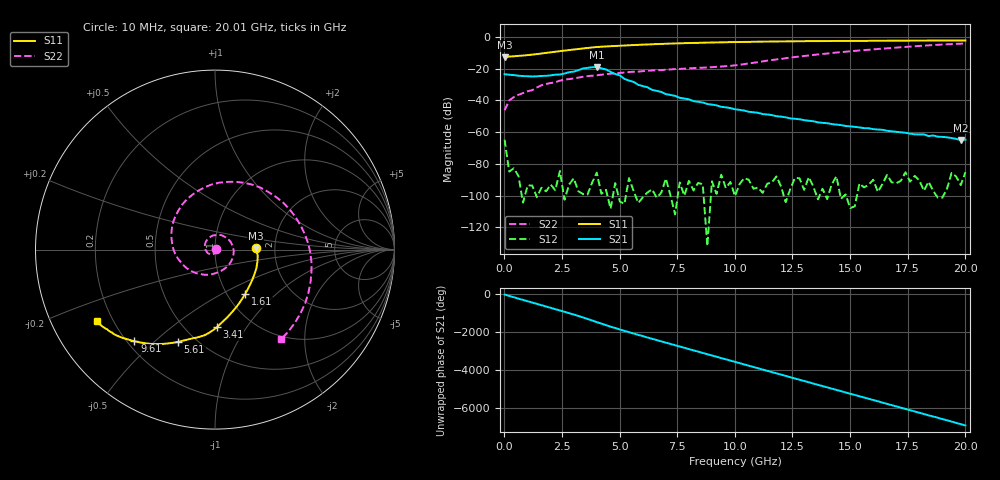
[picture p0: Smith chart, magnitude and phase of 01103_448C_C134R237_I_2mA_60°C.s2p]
!;Filter: kein Filter
!auto
!3/21/2019 9:26:52 AM
!3/21/2019 9:27:07 AM
!SP-Measurements Prober G4
!SP-Measurements Prober G4
!01103_448C
!134
!237
!12
!60
!-20
!0.00199954
!1.75
!0.22129449
!0.22129449
# Hz S  RI  R 50
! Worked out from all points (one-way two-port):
!   101 points, 10 MHz to 20.01 GHz, reference 50 ohm
!   highest |S21| = -18.96 dB at 4.01 GHz (marker M1); lowest = -65.0 dB at 19.81 GHz (marker M2)
!   lowest |S11| = -12.9 dB at 10 MHz (marker M3), VSWR 1.59, Z = 79.3 + j1.29 ohm
!   |S11| at or under -10 dB: start of sweep to 1.851 GHz
!   |S22| runs from -46.2 to -4.1 dB; largest |S21 - S12| = 0.11
!   S11 on the Smith chart (normalised r, x): 10 MHz: 1.59, +0.03; 1.61 GHz: 1.20, -0.66; 3.41 GHz: 0.70, -0.74; 5.61 GHz: 0.40, -0.60; 9.61 GHz: 0.23, -0.43; 20.01 GHz: 0.14, -0.27
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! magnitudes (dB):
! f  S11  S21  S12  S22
! 10 MHz  -12.9  -23.5  -64.7  -46.2
! 210 MHz  -12.4  -23.8  -84.8  -40.0
! 610 MHz  -11.9  -24.4  -87.6  -36.5
! 1.61 GHz  -10.5  -24.6  -94.9  -30.4
! 2.41 GHz  -9.0  -23.7  -84.4  -27.6
! 3.41 GHz  -7.3  -19.9  -98.9  -25.1
! 4.01 GHz  -6.4  -19.0  -85.4  -24.2
! 4.41 GHz  -6.0  -20.5  -96.3  -23.4
! 5.01 GHz  -5.6  -24.3  -103.6  -22.7
! 5.21 GHz  -5.4  -26.4  -105.2  -22.4
! 5.61 GHz  -5.1  -28.3  -97.0  -21.9
! 5.81 GHz  -5.0  -30.2  -104.5  -21.9
! 6.81 GHz  -4.4  -34.6  -98.1  -20.9
! 8.21 GHz  -3.8  -40.4  -96.7  -19.6
! 9.61 GHz  -3.4  -44.3  -95.1  -18.4
! 10.01 GHz  -3.2  -45.6  -100.2  -17.9
! 13.41 GHz  -2.7  -53.1  -94.2  -11.4
! 16.81 GHz  -2.4  -59.4  -91.6  -7.0
! 18.41 GHz  -2.3  -62.4  -91.2  -5.3
! 18.61 GHz  -2.3  -62.1  -96.9  -5.1
! 19.81 GHz  -2.3  -65.0  -93.3  -4.3
! 20.01 GHz  -2.3  -64.7  -85.2  -4.1
